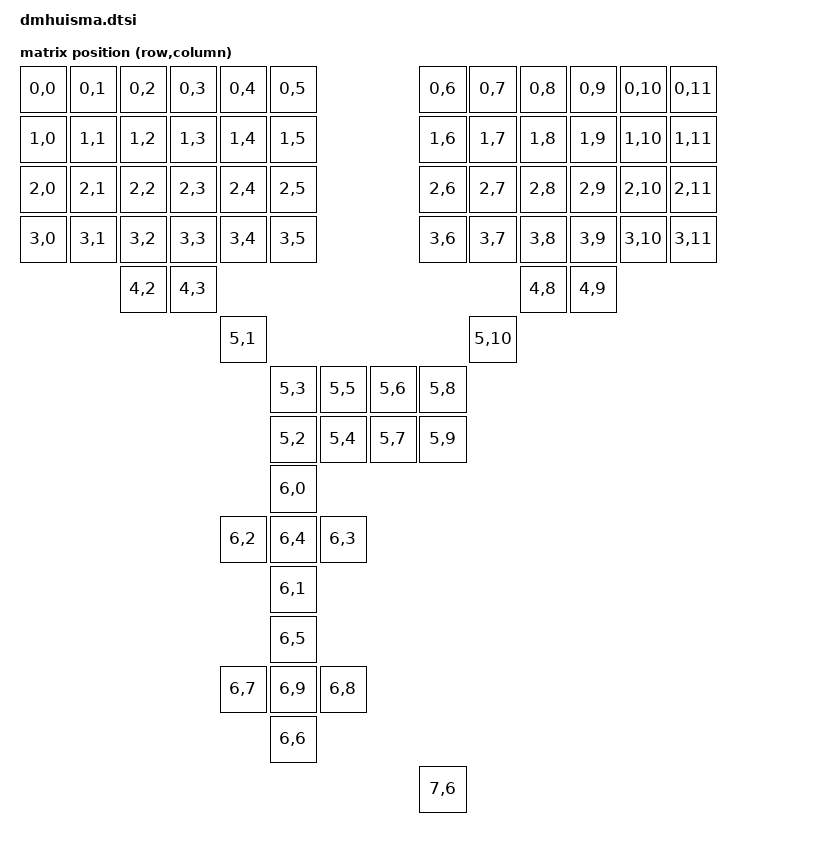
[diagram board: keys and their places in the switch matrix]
#include <dt-bindings/zmk/matrix_transform.h>
#include <dt-bindings/zmk/input_transform.h>
#include <input/processors.dtsi>

// layers, duplicate from the keymap (can these be pulled from there directly?)
#define DEFAULT         0
#define TRI_LAYER       1
#define GAMING          TRI_LAYER
#define RAISE           2
#define FUNCTION        RAISE
#define MOUSE           3
#define MS              MOUSE
#define LOWER           4
#define LW              LOWER
#define MOUSE_SCROLL    LOWER
#define MSS             MOUSE_SCROLL
#define SNIPE           5
#define SN              SNIPE

/ {

    chosen {
        zmk,kscan = &kscan0;
        zmk,physical-layout = &physical_layout0;
    };

    kscan0: kscan_composite {
        compatible = "zmk,kscan-composite";
        status = "okay";
        columns = <12>;
        rows = <8>;
    };

    // key matrix
    kscan1: kscan1 {
        compatible = "zmk,kscan-gpio-matrix";
        diode-direction = "row2col";
        wakeup-source;
        status = "disabled";
    };
    
    physical_layout0: physical_layout_0 { // First physical layout, use different naming for other layouts
        compatible = "zmk,physical-layout";
        display-name = "Default Layout";
        transform = <&default_transform>; // Label of the matrix transform for this layout
    };

    default_transform: keymap_transform0 {
        compatible = "zmk,matrix-transform";
        columns = <12>;
        rows = <8>;

        // key matrix, fingers and thumb clusters, rows 0 - 5
        // dpad and RKJXT1F42001 buttons, left side, row 6
        // EVQWGD001 button, right side, row 7
        map = <
            RC(0,0) RC(0,1) RC(0,2) RC(0,3) RC(0,4) RC(0,5)                     RC(0,6) RC(0,7) RC(0,8) RC(0,9) RC(0,10) RC(0,11)
            RC(1,0) RC(1,1) RC(1,2) RC(1,3) RC(1,4) RC(1,5)                     RC(1,6) RC(1,7) RC(1,8) RC(1,9) RC(1,10) RC(1,11)
            RC(2,0) RC(2,1) RC(2,2) RC(2,3) RC(2,4) RC(2,5)                     RC(2,6) RC(2,7) RC(2,8) RC(2,9) RC(2,10) RC(2,11)
            RC(3,0) RC(3,1) RC(3,2) RC(3,3) RC(3,4) RC(3,5)                     RC(3,6) RC(3,7) RC(3,8) RC(3,9) RC(3,10) RC(3,11)
                            RC(4,2) RC(4,3)                                                     RC(4,8) RC(4,9)

                                            RC(5,1)                                     RC(5,10)
                                                    RC(5,3) RC(5,5)     RC(5,6) RC(5,8)
                                                    RC(5,2) RC(5,4)     RC(5,7) RC(5,9)

                                                    RC(6,0)
                                            RC(6,2) RC(6,4) RC(6,3)
                                                    RC(6,1) 

                                                    RC(6,5)
                                            RC(6,7) RC(6,9) RC(6,8)
                                                    RC(6,6)

                                                                                RC(7,6)
        >;
    };

    // disabled by default - only on left side
    RKJXT1F42001_encoder: encoder_RKJXT1F42001 {
        compatible = "alps,ec11";
        steps = <15>;
        status = "disabled";
    };

    // disabled by default - only on right side
    EVQWGD001_encoder: encoder_EVQWGD001 {
        compatible = "alps,ec11";
        steps = <60>;
        status = "disabled";
    };

    sensors: sensors {
        compatible = "zmk,keymap-sensors";
        sensors = <&RKJXT1F42001_encoder &EVQWGD001_encoder>;
        triggers-per-rotation = <15>;
    };
};
